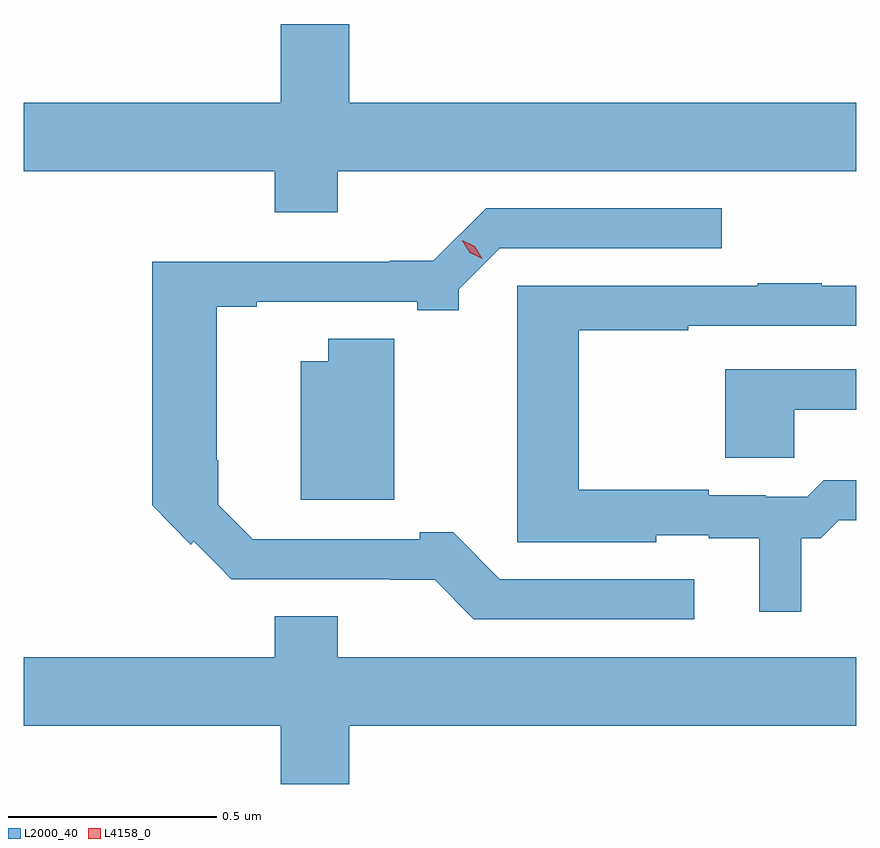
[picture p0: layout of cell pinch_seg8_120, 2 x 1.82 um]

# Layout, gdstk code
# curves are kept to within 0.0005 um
import gdstk
lib = gdstk.Library(unit=1e-6, precision=1e-09)
def P(c, l, *ps):  # polygons
    for p in ps: c.add(gdstk.Polygon(p, *l))
L2000_40 = (2000, 40)
L4158_0 = (4158, 0)

pinch_seg8_120 = lib.new_cell('pinch_seg8_120')
P(pinch_seg8_120, L2000_40, [(1016.156,1120.66),(1015.538,1120.66),(1015.538,1120.496),(1016.141,1120.496),(1016.141,1120.397),(1016.293,1120.397),(1016.293,1120.496),(1017.538,1120.496),(1017.538,1120.66),(1016.32,1120.66),(1016.32,1120.849),(1016.156,1120.849)],
  [(1017.148,1119.516),(1016.682,1119.516),(1016.57,1119.628),(1016.489,1119.628),(1016.489,1119.612),(1016.088,1119.612),(1016.005,1119.695),(1016.005,1119.802),(1016.002,1119.802),(1016.002,1120.17),(1016.098,1120.17),(1016.098,1120.182),(1016.483,1120.182),(1016.483,1120.162),(1016.583,1120.162),(1016.583,1120.212),(1016.682,1120.311),(1017.214,1120.311),(1017.214,1120.407),(1016.649,1120.407),(1016.522,1120.28),(1016.417,1120.28),(1016.417,1120.278),(1015.847,1120.278),(1015.847,1119.693),(1015.94,1119.599),(1015.947,1119.607),(1016.037,1119.516),(1016.42,1119.516),(1016.42,1119.515),(1016.525,1119.515),(1016.619,1119.42),(1017.148,1119.42)],
  [(1017.406,1119.614),(1017.452,1119.614),(1017.495,1119.657),(1017.538,1119.657),(1017.538,1119.754),(1017.46,1119.754),(1017.42,1119.714),(1017.32,1119.714),(1017.32,1119.717),(1017.183,1119.717),(1017.183,1119.73),(1016.871,1119.73),(1016.871,1120.113),(1017.134,1120.113),(1017.134,1120.125),(1017.538,1120.125),(1017.538,1120.221),(1017.455,1120.221),(1017.455,1120.226),(1017.301,1120.226),(1017.301,1120.221),(1016.723,1120.221),(1016.723,1119.605),(1017.057,1119.605),(1017.057,1119.621),(1017.183,1119.621),(1017.183,1119.614),(1017.305,1119.614),(1017.305,1119.438),(1017.406,1119.438)],
  [(1016.428,1120.093),(1016.27,1120.093),(1016.27,1120.039),(1016.204,1120.039),(1016.204,1119.707),(1016.428,1119.707)],
  [(1017.389,1119.923),(1017.538,1119.923),(1017.538,1120.02),(1017.223,1120.02),(1017.223,1119.807),(1017.389,1119.807)],
  [(1016.32,1119.164),(1017.538,1119.164),(1017.538,1119.328),(1016.293,1119.328),(1016.293,1119.427),(1016.141,1119.427),(1016.141,1119.328),(1015.538,1119.328),(1015.538,1119.164),(1016.156,1119.164),(1016.156,1119.024),(1016.32,1119.024)])
P(pinch_seg8_120, L4158_0, [(1016.64,1120.285),(1016.609,1120.3),(1016.591,1120.329),(1016.591,1120.33),(1016.591,1120.33),(1016.622,1120.315),(1016.64,1120.285),(1016.64,1120.285)])

lib.write_gds('pinch_seg8_120.gds')
